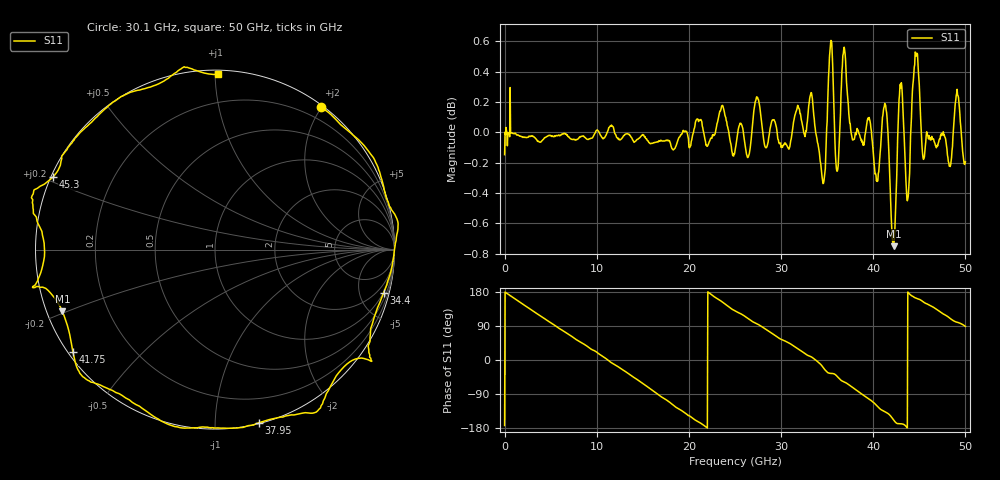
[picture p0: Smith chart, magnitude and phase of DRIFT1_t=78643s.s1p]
!Created with skrf (http://scikit-rf.org).
# Hz S RI R 50.0
!freq ReS11 ImS11
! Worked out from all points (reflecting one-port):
!   1001 points, 300 kHz to 50 GHz, reference 50 ohm
!   lowest |S11| = -0.8 dB at 42.2 GHz (marker M1), VSWR 23.16, Z = 2.24 - j9.72 ohm
!   phase of S11 starts at -173 deg and turns -818 deg over the sweep
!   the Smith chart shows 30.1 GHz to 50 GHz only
!   S11 on the Smith chart (normalised r, x): 30.1 GHz: 0.03, +1.99; 34.4 GHz: 0.97, -7.82; 37.95 GHz: 0.01, -1.29; 41.75 GHz: 0.01, -0.32; 45.3 GHz: 0.01, +0.21; 50 GHz: 0.02, +1.02
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300000  -0.9755 -0.1221
1.450291e9  -0.9125 0.4039
3.25028e9  -0.593 0.8003
6.250262e9  0.1987 0.9787
9.500243e9  0.8873 0.4516
1.250022e10  0.93 -0.3514
1.580021e10  0.2426 -0.9612
1.73502e10  -0.2111 -0.9707
1.875019e10  -0.5986 -0.7925
2.165017e10  -0.9904 -0.1222
2.345016e10  -0.9299 0.4115
2.500015e10  -0.6271 0.7609
2.745014e10  -0.0831 1.023
3.010012e10  0.5907 0.7939
3.125011e10  0.781 0.6281
3.31501e10  1.013 0.1722
3.440009e10  0.9395 -0.2406
3.520009e10  0.8616 -0.5993
3.750008e10  0.3775 -0.9332
3.795007e10  0.2444 -0.9642
3.965006e10  -0.2552 -0.9757
4.175005e10  -0.7916 -0.5703
4.220005e10  -0.8501 -0.3443
4.290004e10  -1.014 -0.2125
4.375004e10  -0.9507 0.011
4.530003e10  -0.9015 0.4055
4.765001e10  -0.5133 0.8558
5e10  0.0187 0.9776
